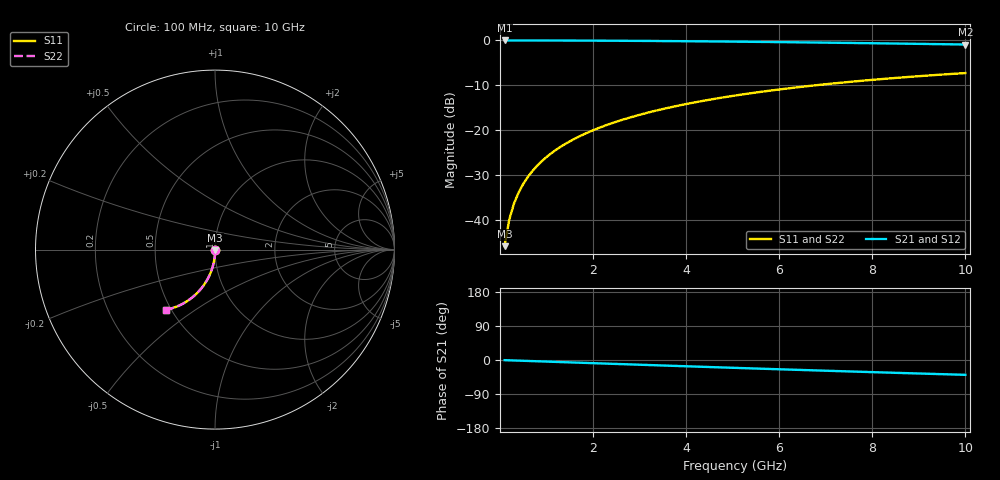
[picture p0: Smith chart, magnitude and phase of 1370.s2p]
# Hz S RI R 50.00
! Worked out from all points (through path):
!   100 points, 100 MHz to 10 GHz, reference 50 ohm
!   highest |S21| = -0.01 dB at 100 MHz (marker M1); lowest = -0.9 dB at 10 GHz (marker M2)
!   group delay of S21, straight-line fit = 10.9 ps
!   lowest |S11| = -45.9 dB at 100 MHz (marker M3), VSWR 1.01, Z = 50.1 - j0.5 ohm
!   |S11| at or under -10 dB: start of sweep to 6.797 GHz
!   |S22| runs from -45.9 to -7.3 dB; largest |S21 - S12| = 0
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1e8  0.000667 -0.005  0.9992 -0.00729  0.9992 -0.00729  0.000667 -0.005
2e8  0.000556 -0.00999  0.9991 -0.0146  0.9991 -0.0146  0.000556 -0.00999
3e8  0.000372 -0.015  0.9989 -0.0219  0.9989 -0.0219  0.000372 -0.015
4e8  0.000114 -0.02  0.9986 -0.0292  0.9986 -0.0292  0.000114 -0.02
5e8  -0.000217 -0.025  0.9983 -0.0364  0.9983 -0.0364  -0.000217 -0.025
6e8  -0.000621 -0.0299  0.9978 -0.0437  0.9978 -0.0437  -0.000621 -0.0299
7e8  -0.0011 -0.0349  0.9973 -0.051  0.9973 -0.051  -0.0011 -0.0349
8e8  -0.00165 -0.0399  0.9967 -0.0582  0.9967 -0.0582  -0.00165 -0.0399
9e8  -0.00227 -0.0448  0.9961 -0.0655  0.9961 -0.0655  -0.00227 -0.0448
1.1e9  -0.00372 -0.0547  0.9945 -0.0799  0.9945 -0.0799  -0.00372 -0.0547
1.4e9  -0.00644 -0.0694  0.9916 -0.1015  0.9916 -0.1015  -0.00644 -0.0694
1.8e9  -0.0111 -0.0887  0.9866 -0.13  0.9866 -0.13  -0.0111 -0.0887
2.1e9  -0.0152 -0.103  0.9821 -0.1512  0.9821 -0.1512  -0.0152 -0.103
2.5e9  -0.0217 -0.1217  0.9751 -0.1791  0.9751 -0.1791  -0.0217 -0.1217
2.9e9  -0.0293 -0.1399  0.967 -0.2065  0.967 -0.2065  -0.0293 -0.1399
3.4e9  -0.0401 -0.1618  0.9553 -0.24  0.9553 -0.24  -0.0401 -0.1618
4.2e9  -0.0603 -0.1949  0.9335 -0.2915  0.9335 -0.2915  -0.0603 -0.1949
5.1e9  -0.0869 -0.2286  0.9046 -0.3461  0.9046 -0.3461  -0.0869 -0.2286
5.9e9  -0.1134 -0.2551  0.8756 -0.3912  0.8756 -0.3912  -0.1134 -0.2551
6.7e9  -0.1421 -0.2781  0.8442 -0.4329  0.8442 -0.4329  -0.1421 -0.2781
8.4e9  -0.2079 -0.3151  0.7712 -0.51  0.7712 -0.51  -0.2079 -0.3151
1e10  -0.2724 -0.3353  0.6983 -0.5683  0.6983 -0.5683  -0.2724 -0.3353
